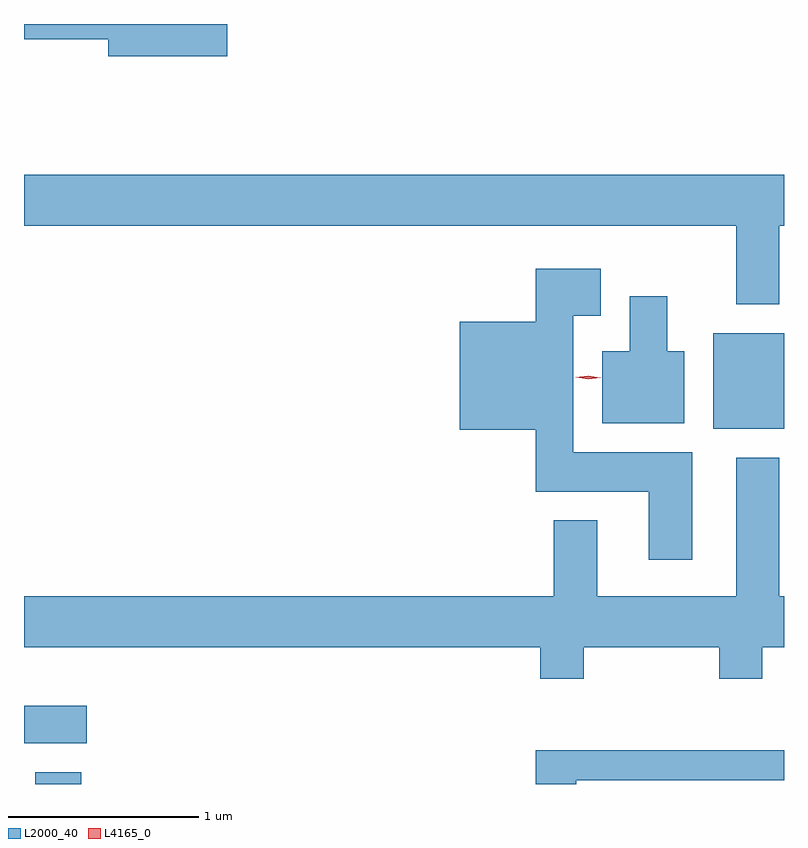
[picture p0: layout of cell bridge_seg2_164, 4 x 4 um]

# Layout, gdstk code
import gdstk
lib = gdstk.Library(unit=1e-6, precision=1e-09)
def R(c, l, rs):  # rectangles x0, y0, x1, y1
    for r in rs: c.add(gdstk.rectangle(r[:2], r[2:], *l))
def P(c, l, *ps):  # polygons
    for p in ps: c.add(gdstk.Polygon(p, *l))
L2000_40 = (2000, 40)
L4165_0 = (4165, 0)

bridge_seg2_164 = lib.new_cell('bridge_seg2_164')
R(bridge_seg2_164, L2000_40, [(798.741,1052.037,798.984,1052.099), (798.683,1052.251,799.014,1052.449), (802.311,1053.906,802.683,1054.409)])
P(bridge_seg2_164, L2000_40, [(799.754,1056.037),(798.683,1056.037),(798.683,1055.956),(799.126,1055.956),(799.126,1055.866),(799.754,1055.866)],
  [(802.659,1054.976),(802.683,1054.976),(802.683,1055.244),(798.683,1055.244),(798.683,1054.976),(802.431,1054.976),(802.431,1054.561),(802.659,1054.561)],
  [(802.199,1053.784),(801.574,1053.784),(801.574,1054.501),(801.719,1054.501),(801.719,1054.749),(801.376,1054.749),(801.376,1054.469),(800.976,1054.469),(800.976,1053.901),(801.376,1053.901),(801.376,1053.576),(801.971,1053.576),(801.971,1053.216),(802.199,1053.216)],
  [(802.159,1054.314),(802.069,1054.314),(802.069,1054.604),(801.871,1054.604),(801.871,1054.314),(801.726,1054.314),(801.726,1053.936),(802.159,1053.936)],
  [(801.629,1052.756),(802.341,1052.756),(802.341,1052.591),(802.569,1052.591),(802.569,1052.756),(802.683,1052.756),(802.683,1053.024),(802.659,1053.024),(802.659,1053.754),(802.431,1053.754),(802.431,1053.024),(801.699,1053.024),(801.699,1053.424),(801.471,1053.424),(801.471,1053.024),(798.683,1053.024),(798.683,1052.756),(801.401,1052.756),(801.401,1052.591),(801.629,1052.591)],
  [(801.589,1052.056),(802.683,1052.056),(802.683,1052.214),(801.376,1052.214),(801.376,1052.037),(801.589,1052.037)])
P(bridge_seg2_164, L4165_0, [(801.652,1054.166),(801.586,1054.177),(801.585,1054.177),(801.586,1054.178),(801.652,1054.186),(801.717,1054.176),(801.718,1054.175),(801.717,1054.174)])

lib.write_gds('bridge_seg2_164.gds')
